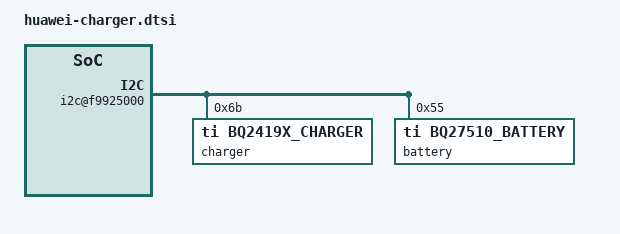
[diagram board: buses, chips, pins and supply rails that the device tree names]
&soc{
    i2c@f9925000 {
       charger: ti,bq2419x {
                cell-index = <0>;
                compatible = "ti,bq2419x_charger";
                reg = <0x6B>;
                max_charger_currentmA = <2048>;
                max_charger_voltagemV = <4200>;
                max_cin_limit_currentmA = <2000>;
                gpio = <114>;
       };
   };
   
   i2c@f9925000 {
       battery: ti,bq27510 {
                compatible = "ti,bq27510_battery";
                reg = <0x55>;
                gpio = <27>;
       };
   };
};
